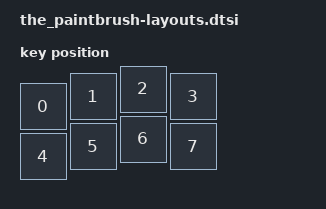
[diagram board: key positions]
#include <physical_layouts.dtsi>

/ {
    physical_layout0: physical_layout_0 {
        compatible = "zmk,physical-layout";
        display-name = "Default";

        kscan = <&kscan0>;
        transform = <&matrix_transform0>;

        keys  //                     w   h    x    y     rot    rx    ry
            = <&key_physical_attrs 100 100    0   35       0     0     0>
            , <&key_physical_attrs 100 100  100   15       0     0     0>
            , <&key_physical_attrs 100 100  200    0       0     0     0>
            , <&key_physical_attrs 100 100  300   15       0     0     0>
            , <&key_physical_attrs 100 100    0  135       0     0     0>
            , <&key_physical_attrs 100 100  100  115       0     0     0>
            , <&key_physical_attrs 100 100  200  100       0     0     0>
            , <&key_physical_attrs 100 100  300  115       0     0     0>
            ;
    };
};
